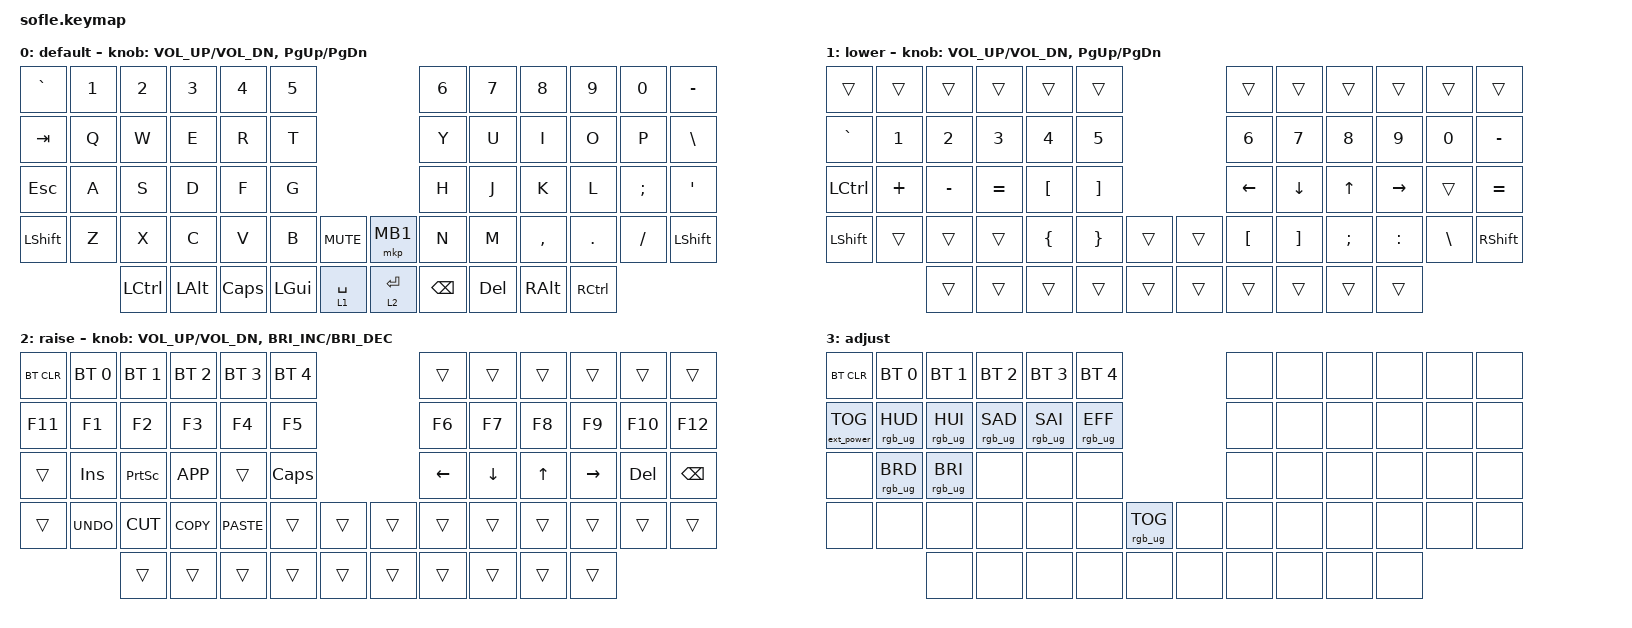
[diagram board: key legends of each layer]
/*
 * Copyright (c) 2020 The ZMK Contributors
 *
 * SPDX-License-Identifier: MIT
 */

#include <behaviors.dtsi>
#include <dt-bindings/zmk/bt.h>
#include <dt-bindings/zmk/ext_power.h>
#include <dt-bindings/zmk/keys.h>
#include <dt-bindings/zmk/pointing.h>
#include <dt-bindings/zmk/rgb.h>

#define BASE 0
#define LOWER 1
#define RAISE 2
#define ADJUST 3

/ {
    // Activate ADJUST layer by pressing raise and lower

    conditional_layers {
        compatible = "zmk,conditional-layers";

        adjust_layer {
            if-layers = <LOWER RAISE>;
            then-layer = <ADJUST>;
        };
    };

    keymap {
        compatible = "zmk,keymap";

        default_layer {
            display-name = "default";

            // ------------------------------------------------------------------------------------------------------------
            // |   `   |  1  |  2  |  3   |  4   |  5   |                   |  6   |  7    |  8    |  9   |   0   |       |
            // |  ESC  |  Q  |  W  |  E   |  R   |  T   |                   |  Y   |  U    |  I    |  O   |   P   | BKSPC |
            // |  TAB  |  A  |  S  |  D   |  F   |  G   |                   |  H   |  J    |  K    |  L   |   ;   |   '   |
            // | SHIFT |  Z  |  X  |  C   |  V   |  B   |  MUTE  |  |       |  N   |  M    |  ,    |  .   |   /   | SHIFT |
            //               | GUI | ALT  | CTRL | LOWER|  ENTER |  | SPACE | RAISE| CTRL  | ALT   | GUI  |

            bindings = <
&kp GRAVE       &kp N1  &kp N2            &kp N3    &kp N4    &kp N5                                    &kp N6         &kp N7      &kp N8     &kp N9             &kp N0    &kp MINUS
&kp TAB         &kp Q   &kp W             &kp E     &kp R     &kp T                                     &kp Y          &kp U       &kp I      &kp O              &kp P     &kp BACKSLASH
&kp ESCAPE      &kp A   &kp S             &kp D     &kp F     &kp G                                     &kp H          &kp J       &kp K      &kp L              &kp SEMI  &kp SQT
&kp LEFT_SHIFT  &kp Z   &kp X             &kp C     &kp V     &kp B         &kp C_MUTE     &mkp MB1     &kp N          &kp M       &kp COMMA  &kp DOT            &kp FSLH  &kp LEFT_SHIFT
                        &kp LEFT_CONTROL  &kp LALT  &kp CAPS  &kp LEFT_GUI  &lt 1 SPACE    &lt 2 ENTER  &kp BACKSPACE  &kp DELETE  &kp RALT   &kp RIGHT_CONTROL
            >;

            sensor-bindings = <&inc_dec_kp C_VOL_UP C_VOL_DN &inc_dec_kp PG_UP PG_DN>;
        };

        lower_layer {
            display-name = "lower";

            // TODO: Some binds are waiting for shifted keycode support.
            // ------------------------------------------------------------------------------------------------------------
            // |       |  F1 |  F2 |  F3  |  F4  |  F5  |                   |  F6  |  F7   |  F8   |  F9  |  F10  |  F11  |
            // |   `   |  1  |  2  |  3   |  4   |  5   |                   |  6   |  7    |  8    |  9   |   0   |  F12  |
            // |       |  !  |  @  |  #   |  $   |  %   |                   |  ^   |  &    |  *    |  (   |   )   |   |   |
            // |       |  =  |  -  |  +   |  {   |  }   |        |  |       |  [   |  ]    |  ;    |  :   |   \   |       |
            //               |     |      |      |      |        |  |       |      |       |       |      |

            bindings = <
&trans            &trans    &trans     &trans     &trans            &trans                               &trans    &trans          &trans        &trans           &trans    &trans
&kp GRAVE         &kp N1    &kp N2     &kp N3     &kp N4            &kp N5                               &kp N6    &kp N7          &kp N8        &kp N9           &kp N0    &kp MINUS
&kp LEFT_CONTROL  &kp PLUS  &kp MINUS  &kp EQUAL  &kp LEFT_BRACKET  &kp RIGHT_BRACKET                    &kp LEFT  &kp DOWN_ARROW  &kp UP_ARROW  &kp RIGHT_ARROW  &trans    &kp EQUAL
&kp LEFT_SHIFT    &trans    &trans     &trans     &kp LBRC          &kp RBRC           &trans    &trans  &kp LBKT  &kp RBKT        &kp SEMI      &kp COLON        &kp BSLH  &kp RIGHT_SHIFT
                            &trans     &trans     &trans            &trans             &trans    &trans  &trans    &trans          &trans        &trans
            >;

            sensor-bindings = <&inc_dec_kp C_VOL_UP C_VOL_DN &inc_dec_kp PG_UP PG_DN>;
        };

        raise_layer {
            display-name = "raise";

            // ------------------------------------------------------------------------------------------------------------
            // | BTCLR | BT1  | BT2  |  BT3  |  BT4  |  BT5 |                |      |      |       |      |       |       |
            // |       | INS  | PSCR | GUI   |       |      |                | PGUP |      |   ^   |      |       |       |
            // |       | ALT  | CTRL | SHIFT |       | CAPS |                | PGDN |   <- |   v   |  ->  |  DEL  | BKSPC |
            // |       | UNDO | CUT  | COPY  | PASTE |      |      |  |      |      |      |       |      |       |       |
            //                |      |       |       |      |      |  |      |      |      |       |      |

            bindings = <
&bt BT_CLR  &bt BT_SEL 0  &bt BT_SEL 1  &bt BT_SEL 2  &bt BT_SEL 3  &bt BT_SEL 4                    &trans    &trans    &trans  &trans     &trans   &trans
&kp F11     &kp F1        &kp F2        &kp F3        &kp F4        &kp F5                          &kp F6    &kp F7    &kp F8  &kp F9     &kp F10  &kp F12
&trans      &kp INS       &kp PSCRN     &kp K_APP     &trans        &kp CLCK                        &kp LEFT  &kp DOWN  &kp UP  &kp RIGHT  &kp DEL  &kp BSPC
&trans      &kp K_UNDO    &kp K_CUT     &kp K_COPY    &kp K_PASTE   &trans        &trans    &trans  &trans    &trans    &trans  &trans     &trans   &trans
                          &trans        &trans        &trans        &trans        &trans    &trans  &trans    &trans    &trans  &trans
            >;

            sensor-bindings =
                <&inc_dec_kp C_VOL_UP C_VOL_DN>,
                <&inc_dec_kp C_BRIGHTNESS_INC C_BRIGHTNESS_DEC>;
        };

        adjust_layer {
            // ----------------------------------------------------------------------------------------------------------------------------
            // | BTCLR  |  BT1    |  BT2    |   BT3   |   BT4   |   BT5   |                  |      |      |       |      |       |       |
            // | EXTPWR | RGB_HUD | RGB_HUI | RGB_SAD | RGB_SAI | RGB_EFF |                  |      |      |       |      |       |       |
            // |        | RGB_BRD | RGB_BRI |         |         |         |                  |      |      |       |      |       |       |
            // |        |         |         |         |         |         | RGB_TOG | |      |      |      |       |      |       |       |
            //                    |         |         |         |         |         | |      |      |      |       |      |

            display-name = "adjust";
            bindings = <
&bt BT_CLR         &bt BT_SEL 0     &bt BT_SEL 1     &bt BT_SEL 2     &bt BT_SEL 3     &bt BT_SEL 4                               &none  &none  &none  &none  &none  &none
&ext_power EP_TOG  &rgb_ug RGB_HUD  &rgb_ug RGB_HUI  &rgb_ug RGB_SAD  &rgb_ug RGB_SAI  &rgb_ug RGB_EFF                            &none  &none  &none  &none  &none  &none
&none              &rgb_ug RGB_BRD  &rgb_ug RGB_BRI  &none            &none            &none                                      &none  &none  &none  &none  &none  &none
&none              &none            &none            &none            &none            &none            &rgb_ug RGB_TOG    &none  &none  &none  &none  &none  &none  &none
                                    &none            &none            &none            &none            &none              &none  &none  &none  &none  &none
            >;
        };
    };
};
